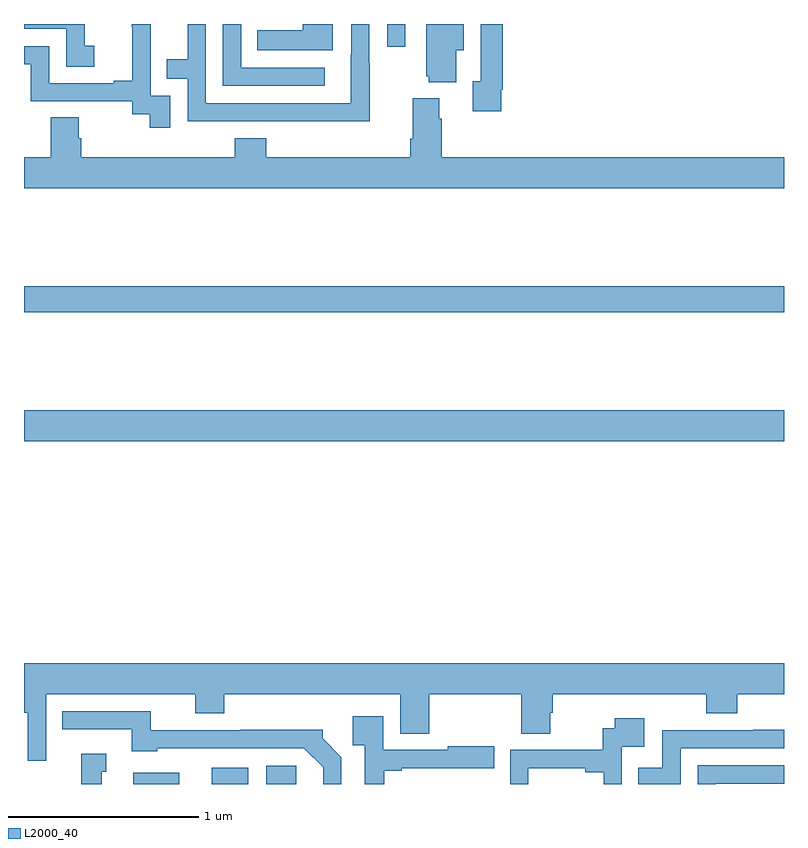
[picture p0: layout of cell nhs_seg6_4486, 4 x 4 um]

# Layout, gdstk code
import gdstk
lib = gdstk.Library(unit=1e-6, precision=1e-09)
def R(c, l, rs):  # rectangles x0, y0, x1, y1
    for r in rs: c.add(gdstk.rectangle(r[:2], r[2:], *l))
def P(c, l, *ps):  # polygons
    for p in ps: c.add(gdstk.Polygon(p, *l))
L2000_40 = (2000, 40)

nhs_seg6_4486 = lib.new_cell('nhs_seg6_4486')
R(nhs_seg6_4486, L2000_40, [(375.575,977.5,375.817,977.56), (375.987,977.5,376.18,977.586), (376.275,977.5,376.432,977.596), (375,979.304,379,979.468), (375,979.984,379,980.12), (376.911,981.381,377.007,981.5)])
P(nhs_seg6_4486, L2000_40, [(375.771,981.123),(375.666,981.123),(375.666,981.353),(375.668,981.353),(375.668,981.5),(375.568,981.5),(375.568,981.485),(375.569,981.485),(375.569,981.202),(375.473,981.202),(375.473,981.189),(375.132,981.189),(375.132,981.384),(375,981.384),(375,981.288),(375.036,981.288),(375.036,981.093),(375.57,981.093),(375.57,981.025),(375.663,981.025),(375.663,980.955),(375.771,980.955)],
  [(376.821,981.293),(376.818,981.293),(376.818,981.5),(376.722,981.5),(376.722,981.338),(376.721,981.338),(376.721,981.084),(375.957,981.084),(375.957,981.5),(375.861,981.5),(375.861,981.314),(375.751,981.314),(375.751,981.213),(375.861,981.213),(375.861,980.988),(376.357,980.988),(376.357,980.987),(376.821,980.987)],
  [(376.582,981.27),(376.143,981.27),(376.143,981.5),(376.047,981.5),(376.047,981.174),(376.582,981.174)],
  [(375.37,981.385),(375.321,981.385),(375.321,981.5),(375,981.5),(375,981.474),(375.222,981.474),(375.222,981.276),(375.37,981.276)],
  [(376.624,981.5),(376.467,981.5),(376.467,981.466),(376.228,981.466),(376.228,981.362),(376.624,981.362)],
  [(377.512,981.154),(377.519,981.154),(377.519,981.5),(377.403,981.5),(377.403,981.198),(377.363,981.198),(377.363,981.042),(377.512,981.042)],
  [(377.275,981.362),(377.314,981.362),(377.314,981.5),(377.117,981.5),(377.117,981.225),(377.129,981.225),(377.129,981.194),(377.275,981.194)],
  [(379,980.8),(377.198,980.8),(377.198,981.002),(377.185,981.002),(377.185,981.109),(377.045,981.109),(377.045,980.896),(377.033,980.896),(377.033,980.8),(376.274,980.8),(376.274,980.899),(376.109,980.899),(376.109,980.8),(375.302,980.8),(375.302,980.898),(375.289,980.898),(375.289,981.008),(375.142,981.008),(375.142,980.8),(375,980.8),(375,980.636),(379,980.636)],
  [(375,977.972),(375.001,977.972),(375.001,977.876),(375.02,977.876),(375.02,977.622),(375.117,977.622),(375.117,977.972),(375.902,977.972),(375.902,977.873),(376.055,977.873),(376.055,977.972),(376.979,977.972),(376.979,977.764),(377.132,977.764),(377.132,977.972),(377.618,977.972),(377.618,977.764),(377.77,977.764),(377.77,977.874),(377.783,977.874),(377.783,977.972),(378.59,977.972),(378.59,977.873),(378.755,977.873),(378.755,977.972),(379,977.972),(379,978.136),(375,978.136)],
  [(376.671,977.642),(376.572,977.741),(376.572,977.786),(376.138,977.786),(376.138,977.784),(375.666,977.784),(375.666,977.883),(375.202,977.883),(375.202,977.787),(375.566,977.787),(375.566,977.672),(375.702,977.672),(375.702,977.688),(376.473,977.688),(376.574,977.587),(376.574,977.5),(376.671,977.5)],
  [(376.895,977.571),(376.987,977.571),(376.987,977.583),(377.474,977.583),(377.474,977.698),(377.231,977.698),(377.231,977.679),(376.89,977.679),(376.89,977.857),(376.729,977.857),(376.729,977.705),(376.794,977.705),(376.794,977.5),(376.895,977.5)],
  [(377.655,977.583),(377.954,977.583),(377.954,977.563),(378.05,977.563),(378.05,977.5),(378.147,977.5),(378.147,977.697),(378.265,977.697),(378.265,977.845),(378.109,977.845),(378.109,977.793),(378.046,977.793),(378.046,977.679),(377.559,977.679),(377.559,977.5),(377.655,977.5)],
  [(378.456,977.688),(379,977.688),(379,977.786),(378.838,977.786),(378.838,977.784),(378.36,977.784),(378.36,977.586),(378.232,977.586),(378.232,977.5),(378.456,977.5)],
  [(375.408,977.565),(375.433,977.565),(375.433,977.659),(375.3,977.659),(375.3,977.5),(375.408,977.5)],
  [(378.642,977.502),(379,977.502),(379,977.598),(378.546,977.598),(378.546,977.5),(378.642,977.5)])

lib.write_gds('nhs_seg6_4486.gds')
